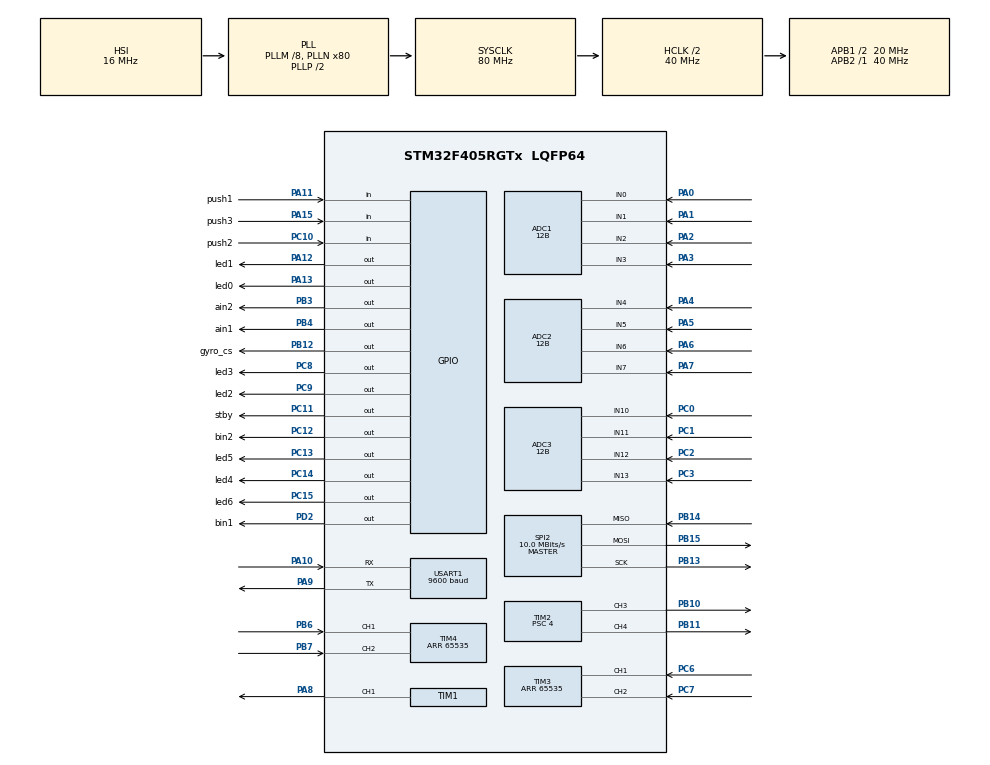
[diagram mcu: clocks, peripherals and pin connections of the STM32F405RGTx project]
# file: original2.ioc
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ADC1.Channel-68\#ChannelRegularConversion=ADC_CHANNEL_0
ADC1.ClockPrescaler=ADC_CLOCK_SYNC_PCLK_DIV4
ADC1.ContinuousConvMode=ENABLE
ADC1.DMAContinuousRequests=DISABLE
ADC1.DataAlign=ADC_DATAALIGN_RIGHT
ADC1.DiscontinuousConvMode=DISABLE
ADC1.EOCSelection=ADC_EOC_SINGLE_CONV
ADC1.EnableAnalogWatchDog=false
ADC1.ExternalTrigConv=ADC_SOFTWARE_START
ADC1.ExternalTrigConvEdge=ADC_EXTERNALTRIGCONVEDGE_NONE
ADC1.InjNumberOfConversion=0
ADC1.NbrOfConversion=1
ADC1.NbrOfConversionFlag=1
ADC1.Rank-68\#ChannelRegularConversion=1
ADC1.Resolution=ADC_RESOLUTION_12B
ADC1.SamplingTime-68\#ChannelRegularConversion=ADC_SAMPLETIME_56CYCLES
ADC1.ScanConvMode=ENABLE
ADC1.master=1
ADC2.Channel-31\#ChannelRegularConversion=ADC_CHANNEL_4
ADC2.ClockPrescaler=ADC_CLOCK_SYNC_PCLK_DIV4
ADC2.ContinuousConvMode=ENABLE
ADC2.DMAContinuousRequests=DISABLE
ADC2.DataAlign=ADC_DATAALIGN_RIGHT
ADC2.DiscontinuousConvMode=DISABLE
ADC2.EOCSelection=ADC_EOC_SINGLE_CONV
ADC2.EnableAnalogWatchDog=false
ADC2.ExternalTrigConv=ADC_SOFTWARE_START
ADC2.ExternalTrigConvEdge=ADC_EXTERNALTRIGCONVEDGE_NONE
ADC2.InjNumberOfConversion=0
ADC2.NbrOfConversion=1
ADC2.NbrOfConversionFlag=1
ADC2.Rank-31\#ChannelRegularConversion=1
ADC2.Resolution=ADC_RESOLUTION_12B
ADC2.SamplingTime-31\#ChannelRegularConversion=ADC_SAMPLETIME_56CYCLES
ADC2.ScanConvMode=ENABLE
ADC3.Channel-4\#ChannelRegularConversion=ADC_CHANNEL_10
ADC3.ClockPrescaler=ADC_CLOCK_SYNC_PCLK_DIV4
ADC3.ContinuousConvMode=ENABLE
ADC3.NbrOfConversionFlag=1
ADC3.Rank-4\#ChannelRegularConversion=1
ADC3.Resolution=ADC_RESOLUTION_12B
ADC3.SamplingTime-4\#ChannelRegularConversion=ADC_SAMPLETIME_56CYCLES
ADC3.ScanConvMode=ENABLE
Mcu.Family=STM32F4
Mcu.Name=STM32F405RGTx
Mcu.Package=LQFP64
NVIC.PriorityGroup=NVIC_PRIORITYGROUP_4
NVIC.TIM5_IRQn=true\:0\:0\:false\:false\:true\:true
PA0-WKUP.Signal=ADCx_IN0
PA1.Signal=ADCx_IN1
PA10.Mode=Asynchronous
PA10.Signal=USART1_RX
PA11.GPIO_Label=push1
PA11.GPIO_Mode=GPIO_MODE_INPUT
PA11.GPIO_PuPd=GPIO_NOPULL
PA11.Signal=GPIO_Input
PA12.GPIO_Label=led1
PA12.GPIO_ModeDefaultOutputPP=GPIO_MODE_OUTPUT_PP
PA12.GPIO_PuPd=GPIO_NOPULL
PA12.GPIO_Speed=GPIO_SPEED_FREQ_LOW
PA12.PinState=GPIO_PIN_RESET
PA12.Signal=GPIO_Output
PA13.GPIO_Label=led0
PA13.GPIO_ModeDefaultOutputPP=GPIO_MODE_OUTPUT_PP
PA13.GPIO_PuPd=GPIO_NOPULL
PA13.GPIO_Speed=GPIO_SPEED_FREQ_LOW
PA13.PinState=GPIO_PIN_RESET
PA13.Signal=GPIO_Output
PA15.GPIO_Label=push3
PA15.GPIO_Mode=GPIO_MODE_INPUT
PA15.GPIO_PuPd=GPIO_NOPULL
PA15.Signal=GPIO_Input
PA2.Signal=ADCx_IN2
PA3.Signal=ADCx_IN3
PA4.Signal=ADCx_IN4
PA5.Signal=ADCx_IN5
PA6.Signal=ADCx_IN6
PA7.Signal=ADCx_IN7
PA8.GPIO_ModeDefaultPP=GPIO_MODE_AF_PP
PA8.GPIO_PuPd=GPIO_NOPULL
PA8.GPIO_Speed=GPIO_SPEED_FREQ_LOW
PA8.Signal=S_TIM1_CH1
PA9.Mode=Asynchronous
PA9.Signal=USART1_TX
PB10.GPIO_ModeDefaultPP=GPIO_MODE_AF_PP
PB10.GPIO_PuPd=GPIO_NOPULL
PB10.GPIO_Speed=GPIO_SPEED_FREQ_LOW
PB10.Signal=S_TIM2_CH3
PB11.GPIO_ModeDefaultPP=GPIO_MODE_AF_PP
PB11.GPIO_PuPd=GPIO_NOPULL
PB11.GPIO_Speed=GPIO_SPEED_FREQ_LOW
PB11.Signal=S_TIM2_CH4
PB12.GPIO_Label=gyro_cs
PB12.GPIO_ModeDefaultOutputPP=GPIO_MODE_OUTPUT_PP
PB12.GPIO_PuPd=GPIO_NOPULL
PB12.GPIO_Speed=GPIO_SPEED_FREQ_LOW
PB12.PinState=GPIO_PIN_RESET
PB12.Signal=GPIO_Output
PB13.Mode=Full_Duplex_Master
PB13.Signal=SPI2_SCK
PB14.Mode=Full_Duplex_Master
PB14.Signal=SPI2_MISO
PB15.Mode=Full_Duplex_Master
PB15.Signal=SPI2_MOSI
PB3.GPIO_Label=ain2
PB3.GPIO_ModeDefaultOutputPP=GPIO_MODE_OUTPUT_PP
PB3.GPIO_PuPd=GPIO_NOPULL
PB3.GPIO_Speed=GPIO_SPEED_FREQ_LOW
PB3.PinState=GPIO_PIN_RESET
PB3.Signal=GPIO_Output
PB4.GPIO_Label=ain1
PB4.GPIO_ModeDefaultOutputPP=GPIO_MODE_OUTPUT_PP
PB4.GPIO_PuPd=GPIO_NOPULL
PB4.GPIO_Speed=GPIO_SPEED_FREQ_LOW
PB4.PinState=GPIO_PIN_RESET
PB4.Signal=GPIO_Output
PB6.Signal=S_TIM4_CH1
PB7.Signal=S_TIM4_CH2
PC0.Signal=ADCx_IN10
PC1.Signal=ADCx_IN11
PC10.GPIO_Label=push2
PC10.GPIO_Mode=GPIO_MODE_INPUT
PC10.GPIO_PuPd=GPIO_NOPULL
PC10.Signal=GPIO_Input
PC11.GPIO_Label=stby
PC11.GPIO_ModeDefaultOutputPP=GPIO_MODE_OUTPUT_PP
PC11.GPIO_PuPd=GPIO_NOPULL
PC11.GPIO_Speed=GPIO_SPEED_FREQ_LOW
PC11.PinState=GPIO_PIN_RESET
PC11.Signal=GPIO_Output
PC12.GPIO_Label=bin2
PC12.GPIO_ModeDefaultOutputPP=GPIO_MODE_OUTPUT_PP
PC12.GPIO_PuPd=GPIO_NOPULL
PC12.GPIO_Speed=GPIO_SPEED_FREQ_LOW
PC12.PinState=GPIO_PIN_RESET
PC12.Signal=GPIO_Output
PC13-ANTI_TAMP.GPIO_Label=led5
PC13-ANTI_TAMP.GPIO_ModeDefaultOutputPP=GPIO_MODE_OUTPUT_PP
PC13-ANTI_TAMP.GPIO_PuPd=GPIO_NOPULL
PC13-ANTI_TAMP.GPIO_Speed=GPIO_SPEED_FREQ_LOW
PC13-ANTI_TAMP.PinState=GPIO_PIN_RESET
PC13-ANTI_TAMP.Signal=GPIO_Output
PC14-OSC32_IN.GPIO_Label=led4
PC14-OSC32_IN.GPIO_ModeDefaultOutputPP=GPIO_MODE_OUTPUT_PP
PC14-OSC32_IN.GPIO_PuPd=GPIO_NOPULL
PC14-OSC32_IN.GPIO_Speed=GPIO_SPEED_FREQ_LOW
PC14-OSC32_IN.PinState=GPIO_PIN_RESET
PC14-OSC32_IN.Signal=GPIO_Output
PC15-OSC32_OUT.GPIO_Label=led6
PC15-OSC32_OUT.GPIO_ModeDefaultOutputPP=GPIO_MODE_OUTPUT_PP
PC15-OSC32_OUT.GPIO_PuPd=GPIO_NOPULL
PC15-OSC32_OUT.GPIO_Speed=GPIO_SPEED_FREQ_LOW
PC15-OSC32_OUT.PinState=GPIO_PIN_RESET
PC15-OSC32_OUT.Signal=GPIO_Output
PC2.Signal=ADCx_IN12
PC3.Signal=ADCx_IN13
PC6.Signal=S_TIM3_CH1
PC7.Signal=S_TIM3_CH2
PC8.GPIO_Label=led3
PC8.GPIO_ModeDefaultOutputPP=GPIO_MODE_OUTPUT_PP
PC8.GPIO_PuPd=GPIO_NOPULL
PC8.GPIO_Speed=GPIO_SPEED_FREQ_LOW
PC8.PinState=GPIO_PIN_RESET
PC8.Signal=GPIO_Output
PC9.GPIO_Label=led2
PC9.GPIO_ModeDefaultOutputPP=GPIO_MODE_OUTPUT_PP
PC9.GPIO_PuPd=GPIO_NOPULL
PC9.GPIO_Speed=GPIO_SPEED_FREQ_LOW
PC9.PinState=GPIO_PIN_RESET
PC9.Signal=GPIO_Output
PD2.GPIO_Label=bin1
PD2.GPIO_ModeDefaultOutputPP=GPIO_MODE_OUTPUT_PP
PD2.GPIO_PuPd=GPIO_NOPULL
PD2.GPIO_Speed=GPIO_SPEED_FREQ_LOW
PD2.PinState=GPIO_PIN_RESET
PD2.Signal=GPIO_Output
ProjectManager.HeapSize=0x200
ProjectManager.StackSize=0x400
ProjectManager.TargetToolchain=Makefile
RCC.48MHZClocksFreq_Value=40000000
RCC.AHBCLKDivider=RCC_SYSCLK_DIV2
RCC.AHBFreq_Value=40000000
RCC.APB1CLKDivider=RCC_HCLK_DIV2
RCC.APB1Freq_Value=20000000
RCC.APB1TimFreq_Value=40000000
RCC.APB2Freq_Value=40000000
RCC.APB2TimFreq_Value=40000000
RCC.CortexFreq_Value=40000000
RCC.HCLKFreq_Value=40000000
RCC.HSE_VALUE=25000000
RCC.HSI_VALUE=16000000
RCC.LSE_VALUE=32768
RCC.PLLM=8
RCC.PLLN=80
RCC.SYSCLKFreq_VALUE=80000000
RCC.SYSCLKSource=RCC_SYSCLKSOURCE_PLLCLK
RCC.VCOOutputFreq_Value=160000000
SH.ADCx_IN0.0=ADC1_IN0,IN0
SH.ADCx_IN1.0=ADC1_IN1,IN1
SH.ADCx_IN10.0=ADC3_IN10,IN10
SH.ADCx_IN11.0=ADC3_IN11,IN11
SH.ADCx_IN12.0=ADC3_IN12,IN12
SH.ADCx_IN13.0=ADC3_IN13,IN13
SH.ADCx_IN2.0=ADC1_IN2,IN2
SH.ADCx_IN3.0=ADC1_IN3,IN3
SH.ADCx_IN4.0=ADC2_IN4,IN4
SH.ADCx_IN5.0=ADC2_IN5,IN5
SH.ADCx_IN6.0=ADC2_IN6,IN6
SH.ADCx_IN7.0=ADC2_IN7,IN7
SH.S_TIM1_CH1.0=TIM1_CH1,PWM Generation1 CH1
SH.S_TIM2_CH3.0=TIM2_CH3,PWM Generation3 CH3
SH.S_TIM2_CH4.0=TIM2_CH4,PWM Generation4 CH4
SH.S_TIM3_CH1.0=TIM3_CH1,Encoder_Interface
SH.S_TIM3_CH2.0=TIM3_CH2,Encoder_Interface
SH.S_TIM4_CH1.0=TIM4_CH1,Encoder_Interface
SH.S_TIM4_CH2.0=TIM4_CH2,Encoder_Interface
SPI2.BaudRatePrescaler=SPI_BAUDRATEPRESCALER_2
SPI2.CalculateBaudRate=10.0 MBits/s
SPI2.Direction=SPI_DIRECTION_2LINES
SPI2.Mode=SPI_MODE_MASTER
SPI2.VirtualType=VM_MASTER
TIM1.Channel-PWM\ Generation1\ CH1=TIM_CHANNEL_1
TIM1.Period=999
TIM1.Prescaler=9
TIM2.Channel-PWM\ Generation3\ CH3=TIM_CHANNEL_3
TIM2.Channel-PWM\ Generation4\ CH4=TIM_CHANNEL_4
TIM2.Period=999
TIM2.Prescaler=4
TIM3.CounterMode=TIM_COUNTERMODE_UP
TIM3.EncoderMode=TIM_ENCODERMODE_TI12
TIM3.Period=65535
TIM4.EncoderMode=TIM_ENCODERMODE_TI12
TIM4.Period=65535
TIM5.Period=999
TIM5.Prescaler=9
USART1.BaudRate=9600
USART1.VirtualMode=VM_ASYNC
VP_TIM5_VS_ClockSourceINT.Mode=Internal
board=original2

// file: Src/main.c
/**
  ******************************************************************************
  * @file           : main.c
  * @brief          : Main program body
  ******************************************************************************
  ** This notice applies to any and all portions of this file
  * that are not between comment pairs USER CODE BEGIN and
  * USER CODE END. Other portions of this file, whether
  * inserted by the user or by software development tools
  * are owned by their respective copyright owners.
  *
  * COPYRIGHT(c) 2018 STMicroelectronics
  *
  * Redistribution and use in source and binary forms, with or without modification,
  * are permitted provided that the following conditions are met:
  *   1. Redistributions of source code must retain the above copyright notice,
  *      this list of conditions and the following disclaimer.
  *   2. Redistributions in binary form must reproduce the above copyright notice,
  *      this list of conditions and the following disclaimer in the documentation
  *      and/or other materials provided with the distribution.
  *   3. Neither the name of STMicroelectronics nor the names of its contributors
  *      may be used to endorse or promote products derived from this software
  *      without specific prior written permission.
  *
  * THIS SOFTWARE IS PROVIDED BY THE COPYRIGHT HOLDERS AND CONTRIBUTORS "AS IS"
  * AND ANY EXPRESS OR IMPLIED WARRANTIES, INCLUDING, BUT NOT LIMITED TO, THE
  * IMPLIED WARRANTIES OF MERCHANTABILITY AND FITNESS FOR A PARTICULAR PURPOSE ARE
  * DISCLAIMED. IN NO EVENT SHALL THE COPYRIGHT HOLDER OR CONTRIBUTORS BE LIABLE
  * FOR ANY DIRECT, INDIRECT, INCIDENTAL, SPECIAL, EXEMPLARY, OR CONSEQUENTIAL
  * DAMAGES (INCLUDING, BUT NOT LIMITED TO, PROCUREMENT OF SUBSTITUTE GOODS OR
  * SERVICES; LOSS OF USE, DATA, OR PROFITS; OR BUSINESS INTERRUPTION) HOWEVER
  * CAUSED AND ON ANY THEORY OF LIABILITY, WHETHER IN CONTRACT, STRICT LIABILITY,
  * OR TORT (INCLUDING NEGLIGENCE OR OTHERWISE) ARISING IN ANY WAY OUT OF THE USE
  * OF THIS SOFTWARE, EVEN IF ADVISED OF THE POSSIBILITY OF SUCH DAMAGE.
  *
  ******************************************************************************
  */
#include "main.h"
#include "stm32f4xx_hal.h"
#include "adc.h"
#include "spi.h"
#include "tim.h"
#include "usart.h"
#include "gpio.h"

/* USER CODE BEGIN Includes */
#include <stdio.h>
#include <string.h>
#include <math.h>

#ifdef __GNUC__
#define PUTCHAR_PROTOTYPE int __io_putchar(int ch)
#else
#define PUTCHAR_PROTOTYPE int fputc(int ch, FILE *f)
#endif /* __GNUC__ */
void __io_putchar(uint8_t ch) {
  HAL_UART_Transmit(&huart1, &ch, 1, 1);
}
/* USER CODE END Includes */

// encodr

ENC enc;
/* USER CODE BEGIN PV */

/* Private variables ---------------------------------------------------------*/

/* USER CODE END PV */

void SystemClock_Config(void);

/* USER CODE BEGIN PFP */
/* Private function prototypes -----------------------------------------------*/

/* USER CODE END PFP */

int main(void)
{

  /* MCU Configuration----------------------------------------------------------*/

  /* Reset of all peripherals, Initializes the Flash interface and the Systick. */
  HAL_Init();

  /* Configure the system clock */
  SystemClock_Config();

  /* Initialize all configured peripherals */
  MX_GPIO_Init();
  MX_USART1_UART_Init();
  MX_TIM4_Init();
  MX_TIM1_Init();
  MX_TIM2_Init();
  MX_TIM3_Init();
  MX_SPI2_Init();
  MX_ADC1_Init();
  MX_ADC2_Init();
  MX_ADC3_Init();
  MX_TIM5_Init();
  /* USER CODE BEGIN 2 */

  //test ktr_LED()
  control_LED(1,Cyan);
  //end test ktr_LED()

  //test ktr_buzzer()
  Buzzer(D,800);
  HAL_Delay(500);
  Buzzer(NORMAL,0);
  //end test ktr_buzzer()

  //test void ktr_set_l3gd20()
  set_l3gd20();
  HAL_TIM_Base_Start_IT( &htim5 );  // TIM5_IRQHandler 250us
  //end test void ktr_set_l3gd20()

  //setup encoder
  setup_encoder();

  //HAL_GPIO_WritePin(stby_GPIO_Port,stby_Pin,GPIO_PIN_SET);//enable Contlor_motor
  setbuf(stdout, NULL); //printf use

  /* USER CODE END 2 */

  /* Infinite loop */
  /* USER CODE BEGIN WHILE */
  while (1)
  {
   //battery check
   battery_check();

   //test
   //printf( "gyro %04d,sensor side [0] : %04d, side [1]: %04d,batt %04d\r",get_gyro(),side_sensor[0], side_sensor[1],batt_analog );
   printf("l_en.now:%d,r_en:%d l_en:%d,r_en:%d , batt %04d\r",enc.l_now,enc.r_now,enc.l,enc.r,batt_analog);
   //end test

  /* USER CODE END WHILE */

  }

}

void SystemClock_Config(void)
{

  RCC_OscInitTypeDef RCC_OscInitStruct;
  RCC_ClkInitTypeDef RCC_ClkInitStruct;

    /**Configure the main internal regulator output voltage
    */
  __HAL_RCC_PWR_CLK_ENABLE();

  __HAL_PWR_VOLTAGESCALING_CONFIG(PWR_REGULATOR_VOLTAGE_SCALE1);

    /**Initializes the CPU, AHB and APB busses clocks
    */
  RCC_OscInitStruct.OscillatorType = RCC_OSCILLATORTYPE_HSI;
  RCC_OscInitStruct.HSIState = RCC_HSI_ON;
  RCC_OscInitStruct.HSICalibrationValue = 16;
  RCC_OscInitStruct.PLL.PLLState = RCC_PLL_ON;
  RCC_OscInitStruct.PLL.PLLSource = RCC_PLLSOURCE_HSI;
  RCC_OscInitStruct.PLL.PLLM = 8;
  RCC_OscInitStruct.PLL.PLLN = 80;
  RCC_OscInitStruct.PLL.PLLP = RCC_PLLP_DIV2;
  RCC_OscInitStruct.PLL.PLLQ = 4;
  if (HAL_RCC_OscConfig(&RCC_OscInitStruct) != HAL_OK)
  {
    _Error_Handler(__FILE__, __LINE__);
  }

    /**Initializes the CPU, AHB and APB busses clocks
    */
  RCC_ClkInitStruct.ClockType = RCC_CLOCKTYPE_HCLK|RCC_CLOCKTYPE_SYSCLK
                              |RCC_CLOCKTYPE_PCLK1|RCC_CLOCKTYPE_PCLK2;
  RCC_ClkInitStruct.SYSCLKSource = RCC_SYSCLKSOURCE_PLLCLK;
  RCC_ClkInitStruct.AHBCLKDivider = RCC_SYSCLK_DIV2;
  RCC_ClkInitStruct.APB1CLKDivider = RCC_HCLK_DIV2;
  RCC_ClkInitStruct.APB2CLKDivider = RCC_HCLK_DIV1;

  if (HAL_RCC_ClockConfig(&RCC_ClkInitStruct, FLASH_LATENCY_1) != HAL_OK)
  {
    _Error_Handler(__FILE__, __LINE__);
  }

    /**Configure the Systick interrupt time
    */
  HAL_SYSTICK_Config(HAL_RCC_GetHCLKFreq()/1000);

    /**Configure the Systick
    */
  HAL_SYSTICK_CLKSourceConfig(SYSTICK_CLKSOURCE_HCLK);

  /* SysTick_IRQn interrupt configuration */
  HAL_NVIC_SetPriority(SysTick_IRQn, 0, 0);
}

/* USER CODE BEGIN 4 */

/***************************************************************
 * effect : control motor power
 * r/l_accel : power vector
 * coution : on stby pin !
 **************************************************************/

void Control_motor(int r_accel,int l_accel){
  //ringht accel
  if(r_accel>0){
    HAL_GPIO_WritePin(ain1_GPIO_Port,ain1_Pin,GPIO_PIN_SET);
    HAL_GPIO_WritePin(ain2_GPIO_Port,ain2_Pin,GPIO_PIN_RESET);
  }else if(r_accel<0){
    HAL_GPIO_WritePin(ain1_GPIO_Port,ain1_Pin,GPIO_PIN_RESET);
    HAL_GPIO_WritePin(ain2_GPIO_Port,ain2_Pin,GPIO_PIN_SET);
    r_accel *= -1;
  }

  //left accel
  if(l_accel>0){
    HAL_GPIO_WritePin(bin1_GPIO_Port,bin1_Pin,GPIO_PIN_SET);
    HAL_GPIO_WritePin(bin2_GPIO_Port,bin2_Pin,GPIO_PIN_RESET);
  }else if(l_accel<0){
    HAL_GPIO_WritePin(bin1_GPIO_Port,bin1_Pin,GPIO_PIN_RESET);
    HAL_GPIO_WritePin(bin2_GPIO_Port,bin2_Pin,GPIO_PIN_SET);
    l_accel *= -1;
  }

  //set pwm
  Motor_pwm(r_accel,l_accel);
}

//end Control_motor()

/**********************************
 * effect : battery check
 **************************************/
void battery_check(void){
  if(batt_analog<1590){
    control_LED(ON,Red);
  }else{
    control_LED(ON,Green);
  }
}

/* USER CODE END 4 */

void _Error_Handler(char *file, int line)
{
  while(1)
  {
  }
}

/************************ (C) COPYRIGHT STMicroelectronics *****END OF FILE****/
